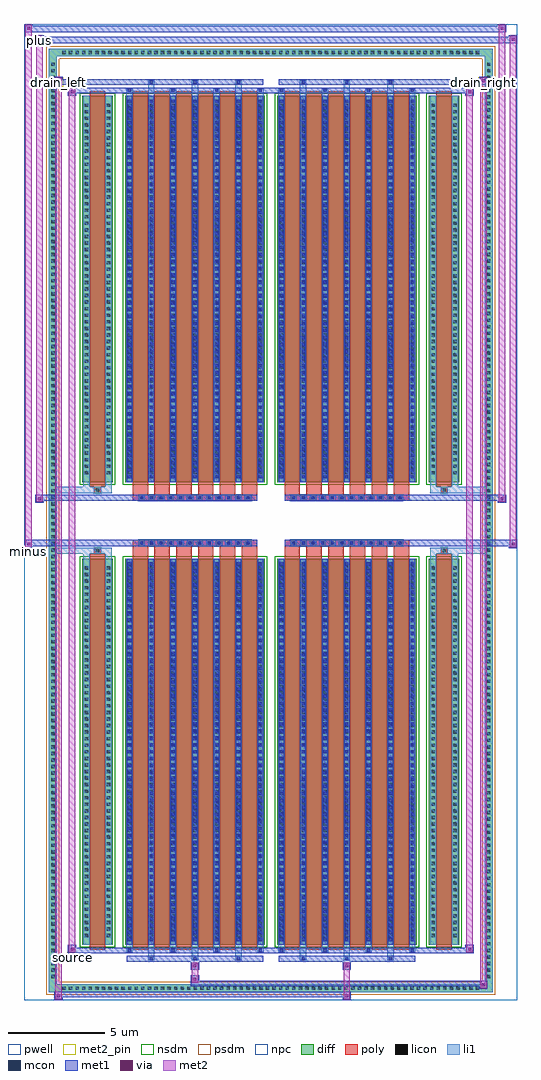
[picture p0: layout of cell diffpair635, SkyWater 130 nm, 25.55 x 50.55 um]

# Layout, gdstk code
import gdstk
lib = gdstk.Library(unit=1e-6, precision=5e-09)
def R(c, l, rs):  # rectangles x0, y0, x1, y1
    for r in rs: c.add(gdstk.rectangle(r[:2], r[2:], *l))
def A(c, l, x, y, w, h, nx, ny, dx, dy):  # array of equal rectangles
    R(c, l, [(x+i*dx, y+j*dy, x+i*dx+w, y+j*dy+h) for i in range(nx) for j in range(ny)])
def P(c, l, *ps):  # polygons
    for p in ps: c.add(gdstk.Polygon(p, *l))
pwell = (64, 44)
diff = (65, 20)
poly = (66, 20)
licon = (66, 44)
li1 = (67, 20)
mcon = (67, 44)
met1 = (68, 20)
via = (68, 44)
met2_pin = (69, 16)
met2 = (69, 20)
nsdm = (93, 44)
psdm = (94, 20)
npc = (95, 20)

diffpair635 = lib.new_cell('diffpair635')
R(diffpair635, pwell, [(-12.76,-24.84,12.76,25.71), (-10.08,-23.03,-0.01,-0.805), (0.01,-23.03,10.08,-0.805), (-10.08,0.805,-0.01,23.03), (0.01,0.805,10.08,23.03)])
A(diffpair635, diff, -10.915, -24.44, 0.41, 0.41, 64, 2, 0.34, 48.47)
A(diffpair635, diff, -11.49, -23.835, 0.41, 0.41, 1, 140, 0, 0.34)
A(diffpair635, diff, 11.08, -23.835, 0.41, 0.41, 1, 140, 0, 0.34)
R(diffpair635, diff, [(-10.915,-24.44,10.915,-24.03), (-11.49,-23.835,-11.08,23.835), (11.08,-23.835,11.49,23.835), (-9.77,-21.985,-8.19,-1.985), (-7.55,-21.985,-0.32,-1.985), (0.32,-21.985,7.55,-1.985), (8.19,-21.985,9.77,-1.985), (-9.77,1.985,-8.19,21.985), (-7.55,1.985,-0.32,21.985), (0.32,1.985,7.55,21.985), (8.19,1.985,9.77,21.985), (-10.915,24.03,10.915,24.44)])
P(diffpair635, diff, [(11.49,24.44),(-11.49,24.44),(-11.49,-24.03),(-11.08,-24.03),(-11.08,24.03),(11.08,24.03),(11.08,-24.03),(-11.08,-24.03),(-11.49,-24.03),(-11.49,-24.44),(11.49,-24.44)])
A(diffpair635, poly, -7.16, -22.235, 0.8, 20.5, 6, 2, 1.13, 23.97)
A(diffpair635, poly, 0.71, -22.235, 0.8, 20.5, 6, 2, 1.13, 23.97)
A(diffpair635, poly, -7.16, -1.735, 0.8, 0.4, 6, 2, 1.13, 3.07)
A(diffpair635, poly, 0.71, -1.735, 0.8, 0.4, 6, 2, 1.13, 3.07)
A(diffpair635, poly, -6.85, -1.335, 0.33, 0.33, 12, 2, 0.5, 2.34)
A(diffpair635, poly, 1.02, -1.335, 0.33, 0.33, 12, 2, 0.5, 2.34)
R(diffpair635, poly, [(-9.38,-22.235,-8.58,-1.735), (8.58,-22.235,9.38,-1.735), (-9.145,-1.735,-8.815,-1.405), (-9.145,-1.735,-8.815,-1.405), (8.815,-1.735,9.145,-1.405), (8.815,-1.735,9.145,-1.405), (-7.16,-1.335,-0.71,-1.005), (0.71,-1.335,7.16,-1.005), (-7.16,1.005,-0.71,1.335), (0.71,1.005,7.16,1.335), (-9.145,1.405,-8.815,1.735), (-9.145,1.405,-8.815,1.735), (8.815,1.405,9.145,1.735), (8.815,1.405,9.145,1.735), (-9.38,1.735,-8.58,22.235), (8.58,1.735,9.38,22.235)])
A(diffpair635, licon, -10.795, -24.32, 0.17, 0.17, 64, 2, 0.34, 48.47)
A(diffpair635, licon, -11.37, -23.715, 0.17, 0.17, 1, 140, 0, 0.34)
A(diffpair635, licon, 11.2, -23.715, 0.17, 0.17, 1, 140, 0, 0.34)
A(diffpair635, licon, -9.63, -21.59, 0.17, 0.17, 1, 57, 0, 0.34)
A(diffpair635, licon, -8.5, -21.59, 0.17, 0.17, 1, 57, 0, 0.34)
A(diffpair635, licon, -7.41, -21.59, 0.17, 0.17, 7, 57, 1.13, 0.34)
A(diffpair635, licon, 0.46, -21.59, 0.17, 0.17, 7, 57, 1.13, 0.34)
A(diffpair635, licon, 8.33, -21.59, 0.17, 0.17, 1, 57, 0, 0.34)
A(diffpair635, licon, 9.46, -21.59, 0.17, 0.17, 1, 57, 0, 0.34)
A(diffpair635, licon, -6.77, -1.255, 0.17, 0.17, 12, 2, 0.5, 2.34)
A(diffpair635, licon, 1.1, -1.255, 0.17, 0.17, 12, 2, 0.5, 2.34)
A(diffpair635, licon, -9.63, 2.38, 0.17, 0.17, 1, 57, 0, 0.34)
A(diffpair635, licon, -8.5, 2.38, 0.17, 0.17, 1, 57, 0, 0.34)
A(diffpair635, licon, -7.41, 2.38, 0.17, 0.17, 7, 57, 1.13, 0.34)
A(diffpair635, licon, 0.46, 2.38, 0.17, 0.17, 7, 57, 1.13, 0.34)
A(diffpair635, licon, 8.33, 2.38, 0.17, 0.17, 1, 57, 0, 0.34)
A(diffpair635, licon, 9.46, 2.38, 0.17, 0.17, 1, 57, 0, 0.34)
R(diffpair635, licon, [(-9.065,-1.655,-8.895,-1.485), (8.895,-1.655,9.065,-1.485), (-9.065,1.485,-8.895,1.655), (8.895,1.485,9.065,1.655)])
A(diffpair635, li1, -10.875, -24.4, 0.33, 0.33, 64, 2, 0.34, 48.47)
A(diffpair635, li1, -11.45, -23.795, 0.33, 0.33, 1, 140, 0, 0.34)
A(diffpair635, li1, 11.12, -23.795, 0.33, 0.33, 1, 140, 0, 0.34)
A(diffpair635, li1, -6.36, -22.79, 0.33, 0.805, 3, 2, 2.26, 44.775)
A(diffpair635, li1, -6.28, -22.79, 0.17, 0.17, 3, 2, 2.26, 45.41)
A(diffpair635, li1, 1.51, -22.79, 0.33, 0.805, 3, 2, 2.26, 44.775)
A(diffpair635, li1, 1.59, -22.79, 0.17, 0.17, 3, 2, 2.26, 45.41)
A(diffpair635, li1, -7.49, -22.36, 0.33, 0.375, 4, 2, 2.26, 44.345)
A(diffpair635, li1, -7.41, -22.36, 0.17, 0.17, 4, 2, 2.26, 44.55)
A(diffpair635, li1, 0.38, -22.36, 0.33, 0.375, 4, 2, 2.26, 44.345)
A(diffpair635, li1, 0.46, -22.36, 0.17, 0.17, 4, 2, 2.26, 44.55)
A(diffpair635, li1, -7.49, -21.985, 0.33, 20, 7, 2, 1.13, 23.97)
A(diffpair635, li1, 0.38, -21.985, 0.33, 20, 7, 2, 1.13, 23.97)
A(diffpair635, li1, -7.41, -21.79, 0.17, 0.17, 7, 55, 1.13, 0.36)
A(diffpair635, li1, -7.41, -21.79, 0.17, 19.61, 7, 2, 1.13, 23.97)
A(diffpair635, li1, 0.46, -21.79, 0.17, 0.17, 7, 55, 1.13, 0.36)
A(diffpair635, li1, 0.46, -21.79, 0.17, 19.61, 7, 2, 1.13, 23.97)
A(diffpair635, li1, -9.71, -21.67, 0.33, 0.33, 1, 57, 0, 0.34)
A(diffpair635, li1, -8.58, -21.67, 0.33, 0.33, 1, 57, 0, 0.34)
A(diffpair635, li1, -7.49, -21.67, 0.33, 0.33, 7, 57, 1.13, 0.34)
A(diffpair635, li1, 0.38, -21.67, 0.33, 0.33, 7, 57, 1.13, 0.34)
A(diffpair635, li1, 8.25, -21.67, 0.33, 0.33, 1, 57, 0, 0.34)
A(diffpair635, li1, 9.38, -21.67, 0.33, 0.33, 1, 57, 0, 0.34)
A(diffpair635, li1, -6.85, -1.335, 0.33, 0.33, 12, 2, 0.5, 2.34)
A(diffpair635, li1, 1.02, -1.335, 0.33, 0.33, 12, 2, 0.5, 2.34)
A(diffpair635, li1, -7.41, 2.18, 0.17, 0.17, 7, 55, 1.13, 0.36)
A(diffpair635, li1, 0.46, 2.18, 0.17, 0.17, 7, 55, 1.13, 0.36)
A(diffpair635, li1, -9.71, 2.3, 0.33, 0.33, 1, 57, 0, 0.34)
A(diffpair635, li1, -8.58, 2.3, 0.33, 0.33, 1, 57, 0, 0.34)
A(diffpair635, li1, -7.49, 2.3, 0.33, 0.33, 7, 57, 1.13, 0.34)
A(diffpair635, li1, 0.38, 2.3, 0.33, 0.33, 7, 57, 1.13, 0.34)
A(diffpair635, li1, 8.25, 2.3, 0.33, 0.33, 1, 57, 0, 0.34)
A(diffpair635, li1, 9.38, 2.3, 0.33, 0.33, 1, 57, 0, 0.34)
R(diffpair635, li1, [(-11.49,-24.44,-11.08,-24.03), (-11.49,-24.44,-11.08,-24.03), (-11.08,-24.44,11.08,-24.03), (11.08,-24.44,11.49,-24.03), (11.08,-24.44,11.49,-24.03), (-11.49,-24.03,-11.08,24.03), (11.08,-24.03,11.49,24.03), (-9.71,-21.985,-9.38,-1.985), (-8.58,-21.985,-8.25,-1.985), (8.25,-21.985,8.58,-1.985), (9.38,-21.985,9.71,-1.985), (-9.71,-1.985,-9.38,-1.405), (-8.58,-1.985,-8.25,-1.405), (8.25,-1.985,8.58,-1.405), (9.38,-1.985,9.71,-1.405), (-11.49,-1.735,-9.145,-1.405), (-9.71,-1.735,-9.145,-1.405), (-9.145,-1.735,-8.815,-1.405), (-8.815,-1.735,-8.25,-1.405), (8.25,-1.735,8.815,-1.405), (8.815,-1.735,9.145,-1.405), (8.815,-1.735,11.49,-1.405), (9.145,-1.735,9.71,-1.405), (-11.49,1.405,-9.145,1.735), (-9.71,1.405,-9.145,1.735), (-9.71,1.405,-9.38,1.985), (-9.145,1.405,-8.815,1.735), (-8.815,1.405,-8.25,1.735), (-8.58,1.405,-8.25,1.985), (8.25,1.405,8.815,1.735), (8.25,1.405,8.58,1.985), (8.815,1.405,9.145,1.735), (8.815,1.405,11.49,1.735), (9.145,1.405,9.71,1.735), (9.38,1.405,9.71,1.985), (-9.71,1.985,-9.38,21.985), (-8.58,1.985,-8.25,21.985), (8.25,1.985,8.58,21.985), (9.38,1.985,9.71,21.985), (-11.49,24.03,-11.08,24.44), (-11.49,24.03,-11.08,24.44), (-11.08,24.03,11.08,24.44), (11.08,24.03,11.49,24.44), (11.08,24.03,11.49,24.44)])
A(diffpair635, mcon, -6.28, -22.79, 0.17, 0.17, 3, 2, 2.26, 45.41)
A(diffpair635, mcon, 1.59, -22.79, 0.17, 0.17, 3, 2, 2.26, 45.41)
A(diffpair635, mcon, -7.41, -22.36, 0.17, 0.17, 4, 2, 2.26, 44.55)
A(diffpair635, mcon, 0.46, -22.36, 0.17, 0.17, 4, 2, 2.26, 44.55)
A(diffpair635, mcon, -7.41, -21.79, 0.17, 0.17, 7, 55, 1.13, 0.36)
A(diffpair635, mcon, 0.46, -21.79, 0.17, 0.17, 7, 55, 1.13, 0.36)
A(diffpair635, mcon, -6.77, -1.255, 0.17, 0.17, 12, 2, 0.5, 2.34)
A(diffpair635, mcon, 1.1, -1.255, 0.17, 0.17, 12, 2, 0.5, 2.34)
A(diffpair635, mcon, -7.41, 2.18, 0.17, 0.17, 7, 55, 1.13, 0.36)
A(diffpair635, mcon, 0.46, 2.18, 0.17, 0.17, 7, 55, 1.13, 0.36)
A(diffpair635, met1, -6.34, -22.85, 0.29, 0.29, 3, 2, 2.26, 45.41)
A(diffpair635, met1, 1.53, -22.85, 0.29, 0.29, 3, 2, 2.26, 45.41)
A(diffpair635, met1, -7.47, -22.42, 0.29, 0.29, 4, 2, 2.26, 44.55)
A(diffpair635, met1, 0.4, -22.42, 0.29, 0.29, 4, 2, 2.26, 44.55)
A(diffpair635, met1, -7.47, -21.985, 0.29, 20, 7, 2, 1.13, 23.97)
A(diffpair635, met1, 0.4, -21.985, 0.29, 20, 7, 2, 1.13, 23.97)
A(diffpair635, met1, -7.47, -21.85, 0.29, 0.29, 7, 55, 1.13, 0.36)
A(diffpair635, met1, 0.4, -21.85, 0.29, 0.29, 7, 55, 1.13, 0.36)
A(diffpair635, met1, -6.83, -1.315, 0.29, 0.29, 12, 2, 0.5, 2.34)
A(diffpair635, met1, 1.04, -1.315, 0.29, 0.29, 12, 2, 0.5, 2.34)
A(diffpair635, met1, -7.47, 2.12, 0.29, 0.29, 7, 55, 1.13, 0.36)
A(diffpair635, met1, 0.4, 2.12, 0.29, 0.29, 7, 55, 1.13, 0.36)
R(diffpair635, met1, [(-11.22,-24.84,-10.79,-24.41), (3.72,-24.84,4.15,-24.41), (-11.22,-24.7,4.15,-24.41), (10.79,-24.27,11.22,-23.84), (-4.15,-24.13,11.22,-23.84), (-4.15,-23.99,-3.72,-23.56), (-4.15,-23.28,-3.72,-22.85), (3.72,-23.28,4.15,-22.85), (-7.47,-22.85,-0.4,-22.56), (0.4,-22.85,7.47,-22.56), (-10.51,-22.42,-10.08,-21.99), (-10.51,-22.42,-7.47,-22.13), (-7.47,-22.42,-0.4,-22.13), (-0.4,-22.42,0.4,-22.13), (0.4,-22.42,7.47,-22.13), (7.47,-22.42,10.51,-22.13), (10.08,-22.42,10.51,-21.99), (-12.76,-1.435,-12.33,-1.005), (12.33,-1.435,12.76,-1.005), (-12.76,-1.335,-0.71,-1.005), (-7.16,-1.335,-0.71,-1.005), (0.71,-1.335,7.16,-1.005), (0.71,-1.335,12.76,-1.005), (-12.19,0.905,-11.76,1.335), (11.76,0.905,12.19,1.335), (-12.19,1.005,-7.16,1.335), (-7.16,1.005,-0.71,1.335), (0.71,1.005,7.16,1.335), (7.16,1.005,12.19,1.335), (-10.51,21.99,-10.08,22.42), (10.08,21.99,10.51,22.42), (-10.51,22.13,-7.47,22.42), (-7.47,22.13,-0.4,22.42), (-0.4,22.13,0.4,22.42), (0.4,22.13,7.47,22.42), (7.47,22.13,10.51,22.42), (-11.22,22.56,-10.79,22.99), (-11.22,22.56,-7.47,22.85), (-7.47,22.56,-0.4,22.85), (0.4,22.56,7.47,22.85), (7.47,22.56,11.22,22.85), (10.79,22.56,11.22,22.99), (-12.19,24.71,-11.76,25.14), (-12.19,24.71,-10.08,25.04), (-10.08,24.71,10.08,25.04), (10.08,24.71,12.76,25.04), (12.33,24.71,12.76,25.14), (-12.76,25.28,-12.33,25.71), (-12.76,25.28,-10.08,25.61), (-10.08,25.28,10.08,25.61), (10.08,25.28,12.19,25.61), (11.76,25.28,12.19,25.71)])
R(diffpair635, via, [(-11.08,-24.7,-10.93,-24.55), (3.86,-24.7,4.01,-24.55), (10.93,-24.13,11.08,-23.98), (-4.01,-23.85,-3.86,-23.7), (-4.01,-23.14,-3.86,-22.99), (3.86,-23.14,4.01,-22.99), (-10.37,-22.28,-10.22,-22.13), (10.22,-22.28,10.37,-22.13), (-12.62,-1.295,-12.47,-1.145), (12.47,-1.295,12.62,-1.145), (-12.05,1.045,-11.9,1.195), (11.9,1.045,12.05,1.195), (-10.37,22.13,-10.22,22.28), (10.22,22.13,10.37,22.28), (-11.08,22.7,-10.93,22.85), (10.93,22.7,11.08,22.85), (-12.05,24.85,-11.9,25), (12.47,24.85,12.62,25), (-12.62,25.42,-12.47,25.57), (11.9,25.42,12.05,25.57)])
R(diffpair635, met2_pin, [(-10.545,-22.87,-10.045,-22.37), (-12.795,-1.885,-12.295,-1.385), (-11.255,22.44,-10.755,22.94), (10.755,22.44,11.255,22.94), (-12.225,24.59,-11.725,25.09)])
R(diffpair635, met2, [(-11.17,-24.79,-10.84,-24.46), (-11.17,-24.79,-10.84,22.94), (3.77,-24.79,4.1,-24.46), (3.77,-24.46,4.1,-23.23), (10.84,-24.22,11.17,-23.89), (10.84,-24.22,11.17,22.94), (-4.1,-23.94,-3.77,-23.61), (-4.1,-23.61,-3.77,-23.23), (-4.1,-23.23,-3.77,-22.9), (3.77,-23.23,4.1,-22.9), (-10.46,-22.37,-10.13,-22.04), (-10.46,-22.37,-10.13,22.37), (10.13,-22.37,10.46,-22.04), (10.13,-22.37,10.46,22.37), (-12.71,-1.385,-12.38,-1.055), (-12.71,-1.385,-12.38,25.66), (12.38,-1.385,12.71,-1.055), (12.38,-1.385,12.71,25.09), (-12.14,0.955,-11.81,1.285), (-12.14,0.955,-11.81,25.09), (11.81,0.955,12.14,1.285), (11.81,0.955,12.14,25.66), (-10.46,22.04,-10.13,22.37), (10.13,22.04,10.46,22.37), (-11.17,22.61,-10.84,22.94), (10.84,22.61,11.17,22.94), (-12.14,24.76,-11.81,25.09), (12.38,24.76,12.71,25.09), (-12.71,25.33,-12.38,25.66), (11.81,25.33,12.14,25.66)])
P(diffpair635, met2, [(12.71,-1.385),(12.71,-1.385),(12.71,-1.055),(12.71,-1.055)],
  [(12.71,24.76),(12.71,24.76),(12.71,25.09),(12.71,25.09)],
  [(-12.38,-1.385),(-12.38,-1.385),(-12.38,-1.055),(-12.38,-1.055)],
  [(-12.38,25.33),(-12.38,25.33),(-12.38,25.66),(-12.38,25.66)],
  [(12.14,0.955),(12.14,0.955),(12.14,1.285),(12.14,1.285)],
  [(12.14,25.33),(12.14,25.33),(12.14,25.66),(12.14,25.66)],
  [(-11.81,0.955),(-11.81,0.955),(-11.81,1.285),(-11.81,1.285)],
  [(-11.81,24.76),(-11.81,24.76),(-11.81,25.09),(-11.81,25.09)],
  [(-10.84,-24.79),(-10.84,-24.79),(-10.84,-24.46),(-10.84,-24.46)],
  [(-10.84,22.61),(-10.84,22.61),(-10.84,22.94),(-10.84,22.94)],
  [(11.17,-24.22),(11.17,-24.22),(11.17,-23.89),(11.17,-23.89)],
  [(11.17,22.61),(11.17,22.61),(11.17,22.94),(11.17,22.94)],
  [(-10.13,-22.37),(-10.13,-22.37),(-10.13,-22.04),(-10.13,-22.04)],
  [(-10.13,22.04),(-10.13,22.04),(-10.13,22.37),(-10.13,22.37)],
  [(10.46,-22.37),(10.46,-22.37),(10.46,-22.04),(10.46,-22.04)],
  [(10.46,22.04),(10.46,22.04),(10.46,22.37),(10.46,22.37)])
R(diffpair635, nsdm, [(-9.9,-22.115,-8.06,-1.855), (-7.68,-22.115,-0.19,-1.855), (0.19,-22.115,7.68,-1.855), (8.06,-22.115,9.9,-1.855), (-9.9,1.855,-8.06,22.115), (-7.68,1.855,-0.19,22.115), (0.19,1.855,7.68,22.115), (8.06,1.855,9.9,22.115)])
P(diffpair635, psdm, [(11.62,24.57),(-11.62,24.57),(-11.62,-23.9),(-10.95,-23.9),(-10.95,23.9),(10.95,23.9),(10.95,-23.9),(-10.95,-23.9),(-11.62,-23.9),(-11.62,-24.57),(11.62,-24.57)])
A(diffpair635, npc, -6.87, -1.355, 0.37, 0.37, 12, 2, 0.5, 2.34)
A(diffpair635, npc, 1, -1.355, 0.37, 0.37, 12, 2, 0.5, 2.34)
R(diffpair635, npc, [(-9.165,-1.755,-8.795,-1.385), (8.795,-1.755,9.165,-1.385), (-6.87,-1.355,-6,-0.985), (-6.87,-1.355,-6,-0.985), (-6.37,-1.355,-5.5,-0.985), (-6.37,-1.355,-5.5,-0.985), (-5.87,-1.355,-5,-0.985), (-5.87,-1.355,-5,-0.985), (-5.37,-1.355,-4.5,-0.985), (-5.37,-1.355,-4.5,-0.985), (-4.87,-1.355,-4,-0.985), (-4.87,-1.355,-4,-0.985), (-4.37,-1.355,-3.5,-0.985), (-4.37,-1.355,-3.5,-0.985), (-3.87,-1.355,-3,-0.985), (-3.87,-1.355,-3,-0.985), (-3.37,-1.355,-2.5,-0.985), (-3.37,-1.355,-2.5,-0.985), (-2.87,-1.355,-2,-0.985), (-2.87,-1.355,-2,-0.985), (-2.37,-1.355,-1.5,-0.985), (-2.37,-1.355,-1.5,-0.985), (-1.87,-1.355,-1,-0.985), (-1.87,-1.355,-1,-0.985), (1,-1.355,1.87,-0.985), (1,-1.355,1.87,-0.985), (1.5,-1.355,2.37,-0.985), (1.5,-1.355,2.37,-0.985), (2,-1.355,2.87,-0.985), (2,-1.355,2.87,-0.985), (2.5,-1.355,3.37,-0.985), (2.5,-1.355,3.37,-0.985), (3,-1.355,3.87,-0.985), (3,-1.355,3.87,-0.985), (3.5,-1.355,4.37,-0.985), (3.5,-1.355,4.37,-0.985), (4,-1.355,4.87,-0.985), (4,-1.355,4.87,-0.985), (4.5,-1.355,5.37,-0.985), (4.5,-1.355,5.37,-0.985), (5,-1.355,5.87,-0.985), (5,-1.355,5.87,-0.985), (5.5,-1.355,6.37,-0.985), (5.5,-1.355,6.37,-0.985), (6,-1.355,6.87,-0.985), (6,-1.355,6.87,-0.985), (-6.87,0.985,-6,1.355), (-6.87,0.985,-6,1.355), (-6.37,0.985,-5.5,1.355), (-6.37,0.985,-5.5,1.355), (-5.87,0.985,-5,1.355), (-5.87,0.985,-5,1.355), (-5.37,0.985,-4.5,1.355), (-5.37,0.985,-4.5,1.355), (-4.87,0.985,-4,1.355), (-4.87,0.985,-4,1.355), (-4.37,0.985,-3.5,1.355), (-4.37,0.985,-3.5,1.355), (-3.87,0.985,-3,1.355), (-3.87,0.985,-3,1.355), (-3.37,0.985,-2.5,1.355), (-3.37,0.985,-2.5,1.355), (-2.87,0.985,-2,1.355), (-2.87,0.985,-2,1.355), (-2.37,0.985,-1.5,1.355), (-2.37,0.985,-1.5,1.355), (-1.87,0.985,-1,1.355), (-1.87,0.985,-1,1.355), (1,0.985,1.87,1.355), (1,0.985,1.87,1.355), (1.5,0.985,2.37,1.355), (1.5,0.985,2.37,1.355), (2,0.985,2.87,1.355), (2,0.985,2.87,1.355), (2.5,0.985,3.37,1.355), (2.5,0.985,3.37,1.355), (3,0.985,3.87,1.355), (3,0.985,3.87,1.355), (3.5,0.985,4.37,1.355), (3.5,0.985,4.37,1.355), (4,0.985,4.87,1.355), (4,0.985,4.87,1.355), (4.5,0.985,5.37,1.355), (4.5,0.985,5.37,1.355), (5,0.985,5.87,1.355), (5,0.985,5.87,1.355), (5.5,0.985,6.37,1.355), (5.5,0.985,6.37,1.355), (6,0.985,6.87,1.355), (6,0.985,6.87,1.355), (-9.165,1.385,-8.795,1.755), (8.795,1.385,9.165,1.755)])
diffpair635.add(gdstk.Label('minus', (-12.545,-1.635), layer=69, texttype=5))
diffpair635.add(gdstk.Label('drain_right', (11.005,22.69), layer=69, texttype=5))
diffpair635.add(gdstk.Label('drain_left', (-11.005,22.69), layer=69, texttype=5))
diffpair635.add(gdstk.Label('source', (-10.295,-22.62), layer=69, texttype=5))
diffpair635.add(gdstk.Label('plus', (-11.975,24.84), layer=69, texttype=5))

lib.write_gds('diffpair635.gds')
